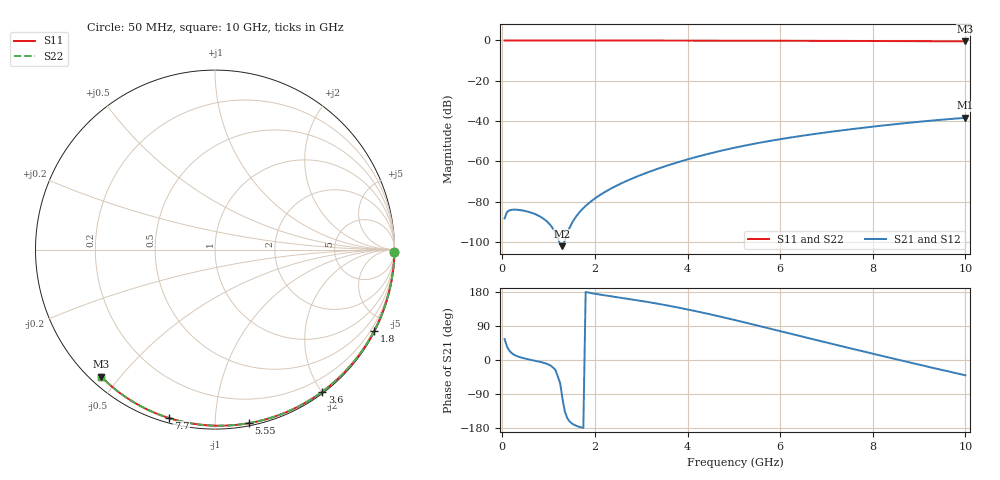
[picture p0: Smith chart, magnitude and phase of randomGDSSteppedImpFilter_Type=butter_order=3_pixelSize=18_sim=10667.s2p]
! freq	dB(S11)	phase(S11)	dB(S12)	phase(S12)
!  dB(S21)	phase(S21)	dB(S22)	phase(S22)
!S-par simulation data
#  GHz  S  DB  R 50
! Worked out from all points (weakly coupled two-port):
!   200 points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, 50 MHz to 10 GHz, reference 50 ohm
!   highest |S21| = -38.39 dB at 10 GHz (marker M1); lowest = -102.1 dB at 1.3 GHz (marker M2)
!   lowest |S11| = -0.4 dB at 10 GHz (marker M3), VSWR 39.05, Z = 1.54 - j22.3 ohm
!   |S11| at or under -10 dB: nowhere
!   |S22| runs from -0.4 to 0.0 dB; largest |S21 - S12| = 0
!   S11 on the Smith chart (normalised r, x): 50 MHz: open; 1.8 GHz: 0.04, -4.16; 3.6 GHz: 0.02, -2.01; 5.55 GHz: 0.02, -1.21; 7.7 GHz: 0.02, -0.76; 10 GHz: 0.03, -0.45
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0.05  -0.00 -0.8  -88.31 55.3  -88.31 55.3  -0.00 -0.8
0.65  -0.01 -9.9  -85.66 -0.4  -85.66 -0.4  -0.01 -9.9
1.3  -0.03 -19.6  -102.09 -102.4  -102.09 -102.4  -0.03 -19.6
1.75  -0.03 -26.3  -83.20 -179.2  -83.20 -179.2  -0.03 -26.3
1.8  -0.03 -27.0  -82.10 179.4  -82.10 179.4  -0.03 -27.0
1.9  -0.04 -28.5  -80.14 176.9  -80.14 176.9  -0.04 -28.5
2.1  -0.04 -31.4  -76.84 172.8  -76.84 172.8  -0.04 -31.4
2.25  -0.04 -33.6  -74.74 170.0  -74.74 170.0  -0.04 -33.6
2.45  -0.05 -36.5  -72.26 166.4  -72.26 166.4  -0.05 -36.5
2.65  -0.05 -39.4  -70.07 162.7  -70.07 162.7  -0.05 -39.4
3  -0.06 -44.4  -66.69 156.0  -66.69 156.0  -0.06 -44.4
3.4  -0.07 -50.1  -63.33 147.6  -63.33 147.6  -0.07 -50.1
3.6  -0.07 -52.9  -61.81 143.1  -61.81 143.1  -0.07 -52.9
4.3  -0.09 -62.5  -57.14 125.6  -57.14 125.6  -0.09 -62.5
5.05  -0.11 -72.4  -53.07 104.6  -53.07 104.6  -0.11 -72.4
5.55  -0.13 -78.9  -50.79 89.8  -50.79 89.8  -0.13 -78.9
6.1  -0.15 -85.9  -48.62 73.2  -48.62 73.2  -0.15 -85.9
6.7  -0.18 -93.4  -46.55 55.1  -46.55 55.1  -0.18 -93.4
7.7  -0.24 -105.4  -43.58 25.4  -43.58 25.4  -0.24 -105.4
8.35  -0.29 -113.0  -41.88 6.4  -41.88 6.4  -0.29 -113.0
9.15  -0.36 -122.2  -40.02 -16.6  -40.02 -16.6  -0.36 -122.2
10  -0.44 -131.9  -38.39 -40.3  -38.39 -40.3  -0.44 -131.9
